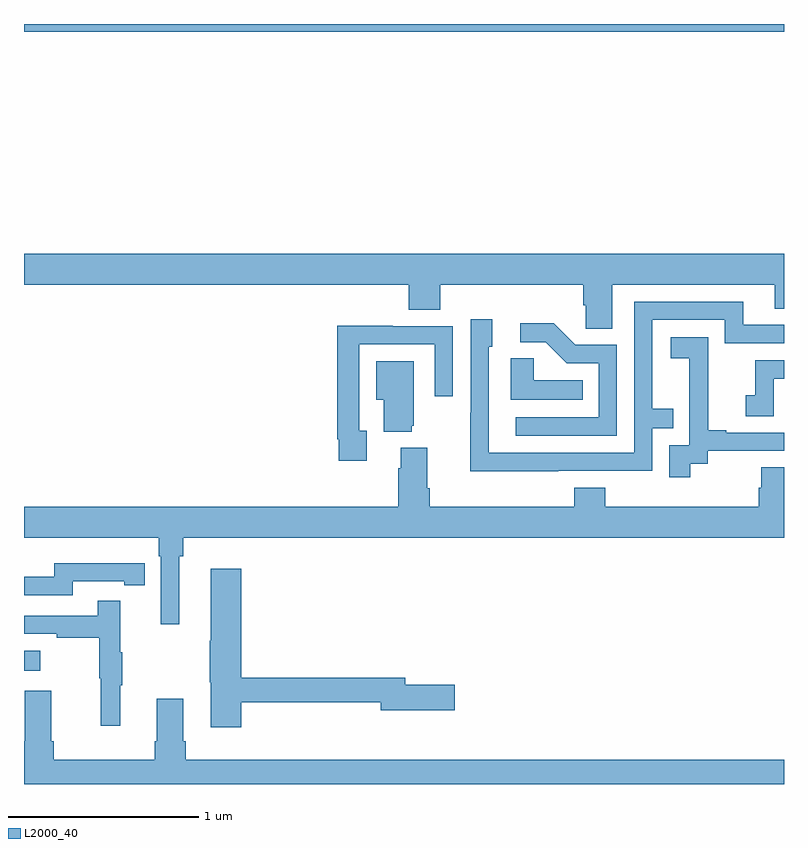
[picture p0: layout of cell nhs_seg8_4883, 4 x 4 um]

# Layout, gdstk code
import gdstk
lib = gdstk.Library(unit=1e-6, precision=1e-09)
def R(c, l, rs):  # rectangles x0, y0, x1, y1
    for r in rs: c.add(gdstk.rectangle(r[:2], r[2:], *l))
def P(c, l, *ps):  # polygons
    for p in ps: c.add(gdstk.Polygon(p, *l))
L2000_40 = (2000, 40)

nhs_seg8_4883 = lib.new_cell('nhs_seg8_4883')
R(nhs_seg8_4883, L2000_40, [(407,1086.497,407.086,1086.601), (407,1089.86,411,1089.9)])
P(nhs_seg8_4883, L2000_40, [(410.095,1088.528),(410.951,1088.528),(410.951,1088.401),(411,1088.401),(411,1088.692),(407,1088.692),(407,1088.528),(409.025,1088.528),(409.025,1088.395),(409.19,1088.395),(409.19,1088.528),(409.943,1088.528),(409.943,1088.419),(409.956,1088.419),(409.956,1088.296),(410.095,1088.296)],
  [(409.811,1087.548),(410.307,1087.548),(410.307,1087.773),(410.417,1087.773),(410.417,1087.874),(410.307,1087.874),(410.307,1088.343),(410.688,1088.343),(410.688,1088.22),(411,1088.22),(411,1088.316),(410.785,1088.316),(410.785,1088.439),(410.211,1088.439),(410.211,1087.644),(409.446,1087.644),(409.446,1088.202),(409.465,1088.202),(409.465,1088.347),(409.35,1088.347),(409.35,1087.853),(409.348,1087.853),(409.348,1087.547),(409.811,1087.547)],
  [(410.121,1088.211),(409.902,1088.211),(409.789,1088.324),(409.611,1088.324),(409.611,1088.226),(409.745,1088.226),(409.856,1088.115),(410.025,1088.115),(410.025,1087.83),(409.587,1087.83),(409.587,1087.734),(410.121,1087.734)],
  [(408.805,1087.758),(408.765,1087.758),(408.765,1088.214),(409.161,1088.214),(409.161,1087.941),(409.257,1087.941),(409.257,1088.31),(408.941,1088.31),(408.941,1088.312),(408.649,1088.312),(408.649,1087.714),(408.657,1087.714),(408.657,1087.602),(408.805,1087.602)],
  [(410.506,1087.585),(410.598,1087.585),(410.598,1087.653),(411,1087.653),(411,1087.749),(410.695,1087.749),(410.695,1087.762),(410.6,1087.762),(410.6,1088.045),(410.601,1088.045),(410.601,1088.251),(410.403,1088.251),(410.403,1088.141),(410.501,1088.141),(410.501,1087.913),(410.502,1087.913),(410.502,1087.683),(410.397,1087.683),(410.397,1087.515),(410.506,1087.515)],
  [(409.94,1088.026),(409.683,1088.026),(409.683,1088.141),(409.562,1088.141),(409.562,1087.922),(409.94,1087.922)],
  [(410.946,1088.034),(411,1088.034),(411,1088.13),(410.848,1088.13),(410.848,1087.945),(410.799,1087.945),(410.799,1087.836),(410.946,1087.836)],
  [(409.04,1087.785),(409.051,1087.785),(409.051,1088.125),(408.854,1088.125),(408.854,1087.922),(408.893,1087.922),(408.893,1087.754),(409.04,1087.754)],
  [(407.818,1087.1),(407.837,1087.1),(407.837,1087.196),(411,1087.196),(411,1087.568),(410.879,1087.568),(410.879,1087.458),(410.867,1087.458),(410.867,1087.36),(410.06,1087.36),(410.06,1087.459),(409.895,1087.459),(409.895,1087.36),(409.136,1087.36),(409.136,1087.456),(409.123,1087.456),(409.123,1087.669),(408.983,1087.669),(408.983,1087.562),(408.971,1087.562),(408.971,1087.36),(407,1087.36),(407,1087.196),(407.708,1087.196),(407.708,1087.1),(407.721,1087.1),(407.721,1086.741),(407.818,1086.741)],
  [(407.256,1086.966),(407.528,1086.966),(407.528,1086.946),(407.636,1086.946),(407.636,1087.062),(407.528,1087.062),(407.528,1087.063),(407.16,1087.063),(407.16,1086.99),(407,1086.99),(407,1086.894),(407.256,1086.894)],
  [(408.143,1086.33),(408.878,1086.33),(408.878,1086.287),(409.267,1086.287),(409.267,1086.422),(409.006,1086.422),(409.006,1086.458),(408.143,1086.458),(408.143,1087.033),(407.984,1087.033),(407.984,1086.653),(407.977,1086.653),(407.977,1086.435),(407.984,1086.435),(407.984,1086.198),(408.143,1086.198)],
  [(407.507,1086.419),(407.518,1086.419),(407.518,1086.593),(407.507,1086.593),(407.507,1086.865),(407.389,1086.865),(407.389,1086.786),(407,1086.786),(407,1086.69),(407.173,1086.69),(407.173,1086.67),(407.397,1086.67),(407.397,1086.456),(407.404,1086.456),(407.404,1086.207),(407.507,1086.207)],
  [(407.699,1086.349),(407.699,1086.124),(407.687,1086.124),(407.687,1086.028),(407.156,1086.028),(407.156,1086.124),(407.143,1086.124),(407.143,1086.391),(407.003,1086.391),(407.003,1086.124),(407,1086.124),(407,1085.9),(411,1085.9),(411,1086.028),(407.852,1086.028),(407.852,1086.124),(407.839,1086.124),(407.839,1086.349)])

lib.write_gds('nhs_seg8_4883.gds')
